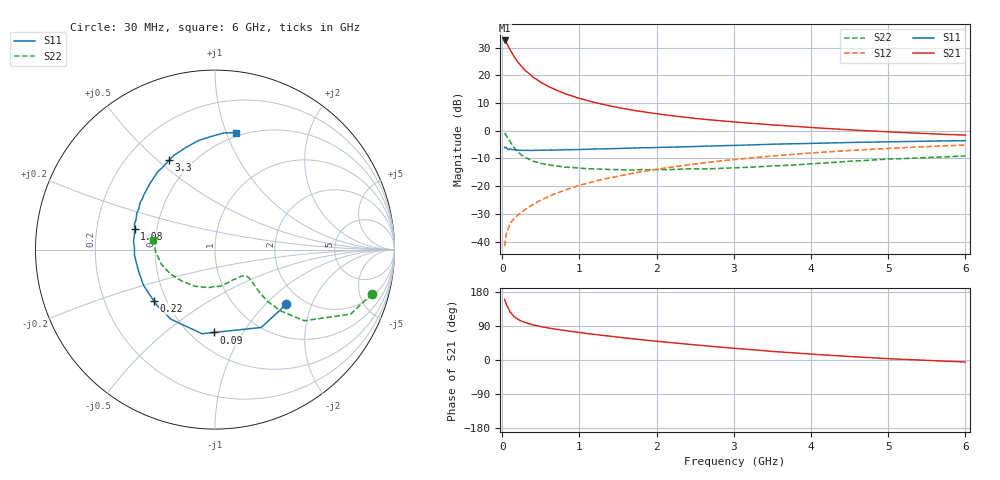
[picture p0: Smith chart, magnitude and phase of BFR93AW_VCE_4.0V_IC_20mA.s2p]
! Infineon Technologies  Discrete & RF Semiconductors
! BFR93AW
! VCE =  4.0 V,  IC =  20 mA
! Common Emitter S-Parameters:  Nov 2015
# GHz  S  MA  R  50
!  f  S11  S21  S12  S22
! GHz  MAG  ANG  MAG  ANG  MAG  ANG  MAG  ANG
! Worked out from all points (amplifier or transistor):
!   206 points, 30 MHz to 6 GHz, reference 50 ohm
!   highest |S21| = 32.6 dB at 30 MHz (marker M1)
!   |S21| within 3 dB of that: start of sweep to 94.6 MHz
!   unconditionally stable (mu >= 1): 555.3 MHz to 2.199 GHz
!   at 200 MHz: K = 0.71, MSG = 27.6 dB, |S12| = -30.4 dB
!   at 1.56 GHz: K = 1.04, MAG = 10.8 dB, |S12| = -16.0 dB
!   at 6 GHz: K = 0.91, MSG = 1.8 dB, |S12| = -5.1 dB
!   S11 on the Smith chart (normalised r, x): 30 MHz: 1.64, -1.34; 90 MHz: 0.64, -0.75; 220 MHz: 0.43, -0.30; 1.08 GHz: 0.37, +0.11; 3.3 GHz: 0.38, +0.55; 6 GHz: 0.46, +1.08
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0.03  0.5006 -37.6  42.46 159.8  0.0083 75.4  0.91 -15.7
0.05  0.5046 -59.3  39.25 146.8  0.0133 70.9  0.8372 -25.4
0.09  0.4619 -90.7  30.84 131.5  0.0193 61.8  0.673 -35.3
0.1  0.4743 -98.7  29.2 126.4  0.0209 60.4  0.6361 -38.5
0.15  0.4592 -122.2  21.96 114.8  0.0259 58.5  0.4997 -43.1
0.2  0.4487 -136.0  17.41 107.4  0.0303 59.5  0.4179 -44.5
0.22  0.4445 -140.1  16.14 105.6  0.0319 60.1  0.3955 -44.4
0.26  0.4425 -147.8  13.83 101.6  0.0351 61.4  0.3553 -44.1
0.3  0.4449 -153.5  12.09 98.4  0.0385 62.9  0.3283 -43.4
0.4  0.4425 -163.8  9.213 92.5  0.0471 65.5  0.283 -41.4
0.5  0.445 -171.2  7.464 88.0  0.0562 67.2  0.2569 -40.3
0.6  0.4497 -176.1  6.256 84.3  0.0653 68.7  0.2421 -39.6
0.7  0.4488 178.8  5.404 81.0  0.0746 69.6  0.2318 -40.0
1.04  0.4605 166.5  3.697 71.5  0.1074 70.0  0.2102 -44.6
1.08  0.4629 165.4  3.565 70.4  0.1111 69.9  0.2078 -45.8
1.5  0.4811 154.8  2.616 60.3  0.1517 68.5  0.2001 -55.6
2.02  0.5006 142.2  2.007 49.0  0.2037 65.1  0.1996 -71.3
3.1  0.5483 120.8  1.405 29.4  0.3112 55.6  0.217 -104.1
3.3  0.5593 117.2  1.339 26.2  0.3309 53.6  0.223 -111.4
4.1  0.5963 104.1  1.122 14.2  0.4059 45.3  0.258 -139.4
5.1  0.6345 90.6  0.941 2.6  0.4884 34.3  0.3117 -166.9
6  0.6622 80.0  0.835 -5.3  0.5536 24.7  0.352 171.1
